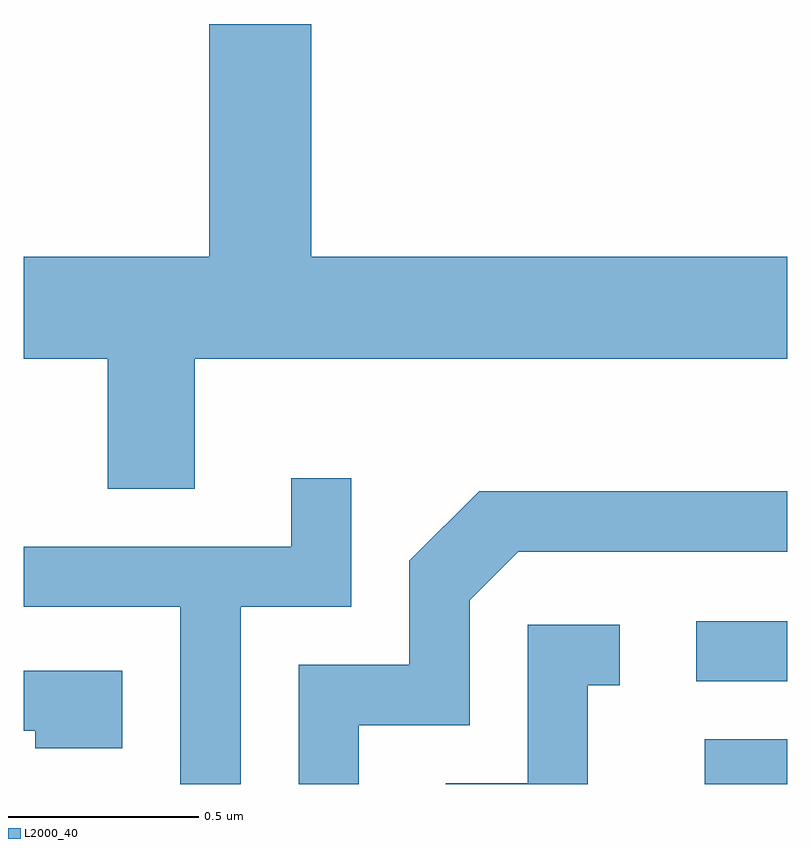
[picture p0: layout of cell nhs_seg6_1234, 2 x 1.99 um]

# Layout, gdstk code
import gdstk
lib = gdstk.Library(unit=1e-6, precision=1e-09)
def R(c, l, rs):  # rectangles x0, y0, x1, y1
    for r in rs: c.add(gdstk.rectangle(r[:2], r[2:], *l))
def P(c, l, *ps):  # polygons
    for p in ps: c.add(gdstk.Polygon(p, *l))
L2000_40 = (2000, 40)

nhs_seg6_1234 = lib.new_cell('nhs_seg6_1234')
R(nhs_seg6_1234, L2000_40, [(196.396,1531.162,196.611,1531.279), (196.373,1531.431,196.611,1531.589)])
P(nhs_seg6_1234, L2000_40, [(195.059,1532.276),(196.611,1532.276),(196.611,1532.544),(195.364,1532.544),(195.364,1533.154),(195.096,1533.154),(195.096,1532.544),(194.611,1532.544),(194.611,1532.276),(194.831,1532.276),(194.831,1531.936),(195.059,1531.936)],
  [(195.179,1531.626),(195.469,1531.626),(195.469,1531.963),(195.311,1531.963),(195.311,1531.784),(194.611,1531.784),(194.611,1531.626),(195.021,1531.626),(195.021,1531.162),(195.179,1531.162)],
  [(195.489,1531.316),(195.779,1531.316),(195.779,1531.644),(195.907,1531.771),(196.611,1531.771),(196.611,1531.929),(195.804,1531.929),(195.621,1531.747),(195.621,1531.474),(195.331,1531.474),(195.331,1531.162),(195.489,1531.162)],
  [(196.089,1531.421),(196.173,1531.421),(196.173,1531.579),(195.931,1531.579),(195.931,1531.164),(195.716,1531.164),(195.716,1531.162),(196.089,1531.162)],
  [(194.869,1531.459),(194.611,1531.459),(194.611,1531.301),(194.641,1531.301),(194.641,1531.256),(194.869,1531.256)])

lib.write_gds('nhs_seg6_1234.gds')
